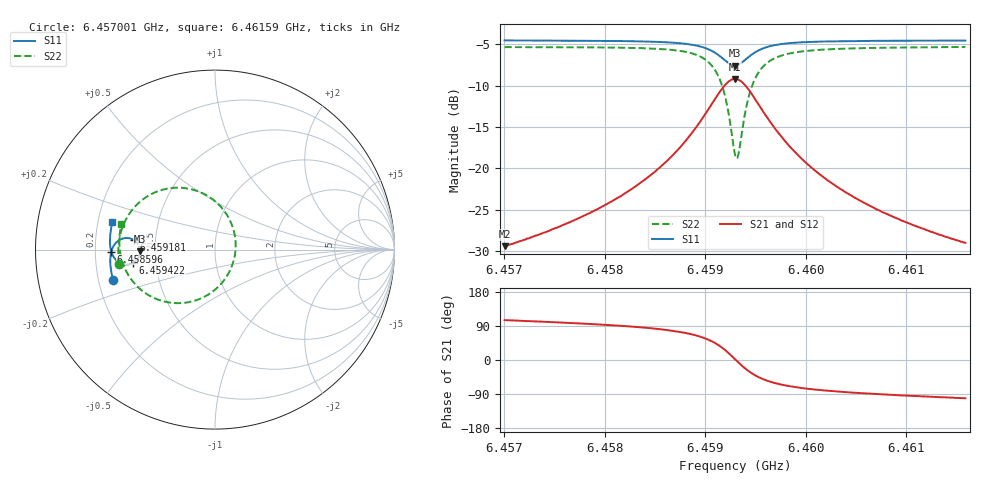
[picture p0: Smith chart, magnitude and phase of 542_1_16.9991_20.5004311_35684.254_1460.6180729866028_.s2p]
#  HZ  S  RI  R  50.00
! Rohde & Schwarz Vector Network Analyzer
! Rohde-Schwarz,ZNB20-2Port,1311601062101988,3.16
! Created: UTC 3/20/2024, 11:16:20 PM
! freq[Hz]  re:S11  im:S11  re:S21  im:S21  re:S12  im:S12  re:S22  im:S22
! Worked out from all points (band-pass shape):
!   401 points, 6.457001 GHz to 6.46159 GHz, reference 50 ohm
!   highest |S21| = -9.20 dB at 6.459295 GHz (marker M1); lowest = -29.4 dB at 6.457001 GHz (marker M2)
!   |S21| within 3 dB of the highest: 6.459067 GHz to 6.459525 GHz (458.4 kHz wide, 0.0071 % of centre)
!   lowest |S11| = -7.6 dB at 6.459295 GHz (marker M3), VSWR 2.43, Z = 20.5 - j0.452 ohm
!   |S11| at or under -10 dB: nowhere
!   |S22| runs from -18.8 to -5.3 dB; largest |S21 - S12| = 0.014
!   S11 on the Smith chart (normalised r, x): 6.457001 GHz: 0.26, -0.14; 6.458596 GHz: 0.27, -0.01; 6.459181 GHz: 0.37, +0.05; 6.459422 GHz: 0.37, -0.07; 6.46159 GHz: 0.26, +0.12
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6.4570012e9  -0.5673 -0.1704  -0.00885 0.0326  -0.00701 0.0325  -0.5332 -0.0828
6.4577697e9  -0.581 -0.1032  -0.00557 0.0506  -0.00298 0.05  -0.5381 0.00747
6.4581712e9  -0.5838 -0.0629  4.76e-07 0.0687  0.00324 0.0674  -0.5306 0.0707
6.4585383e9  -0.5797 -0.0193  0.0146 0.099  0.0185 0.0962  -0.5038 0.1528
6.4585957e9  -0.578 -0.0114  0.0188 0.1059  0.023 0.1027  -0.4957 0.1694
6.4588022e9  -0.5648 0.0207  0.0466 0.1383  0.0507 0.1334  -0.4439 0.2421
6.4589513e9  -0.5422 0.0469  0.0921 0.1688  0.0953 0.1621  -0.3598 0.3067
6.459089e9  -0.4982 0.0644  0.1794 0.1854  0.1804 0.1779  -0.1998 0.3449
6.4591807e9  -0.4535 0.0541  0.2696 0.1537  0.2698 0.1479  -0.0329 0.294
6.4592496e9  -0.4244 0.022  0.3304 0.0816  0.3324 0.0763  0.083 0.1637
6.4592954e9  -0.4176 -0.00907  0.3465 0.0134  0.3503 0.00649  0.115 0.036
6.4593069e9  -0.4181 -0.0173  0.3464 -0.00447  0.3503 -0.0121  0.1147 0.0024
6.4593299e9  -0.4215 -0.033  0.3408 -0.0392  0.3446 -0.0484  0.1033 -0.0639
6.4593757e9  -0.4373 -0.059  0.3119 -0.0993  0.3142 -0.1113  0.045 -0.1775
6.4594216e9  -0.4593 -0.0754  0.2696 -0.1404  0.2688 -0.1537  -0.0405 -0.2525
6.4595134e9  -0.5028 -0.0822  0.1843 -0.1717  0.1782 -0.1832  -0.2106 -0.2986
6.4596625e9  -0.5468 -0.0616  0.0962 -0.1574  0.0877 -0.1636  -0.3789 -0.2482
6.4598231e9  -0.5683 -0.0339  0.0511 -0.1292  0.0436 -0.132  -0.4595 -0.1756
6.460064e9  -0.5811 0.00162  0.0221 -0.0975  0.0162 -0.0981  -0.5075 -0.0927
6.4604082e9  -0.5855 0.0425  0.00608 -0.0706  0.00208 -0.0701  -0.5287 -0.0133
6.4608326e9  -0.5835 0.0853  -0.00154 -0.052  -0.00445 -0.0513  -0.5327 0.0549
6.4615897e9  -0.5713 0.1524  -0.00673 -0.0347  -0.00841 -0.0337  -0.5212 0.1446
